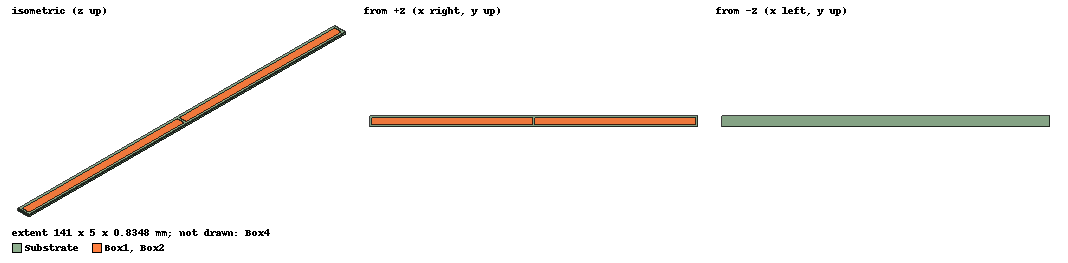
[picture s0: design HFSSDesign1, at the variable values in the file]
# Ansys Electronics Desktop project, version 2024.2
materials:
  vacuum: permittivity=1
  copper: permeability=0.999991 conductivity=58000000
  FR4_epoxy: permittivity=4.4 dielectric_loss_tangent=0.02
  air: permittivity=1.0006 permeability=1.0000004
  pec: conductivity=1e+30

design HFSSDesign1 (HFSS, HFSS Terminal Network, model units mm)
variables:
  thickness = 0.0348mm
  gap = 0.9906mm
  length = 139mm
  pcb_thickness = 0.8mm
  width = 3mm
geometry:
  Box1 [copper] = box(corner=(-gap / 2, -width/2, 0), size=(-(length - gap) / 2, width, thickness))
  Box2 [copper] = box(corner=(gap / 2, -width / 2, 0), size=((length - gap) / 2, width, thickness))
  Substrate [FR4_epoxy] = box(corner=(-70.5mm, -2.5mm, 0), size=(141mm, 5mm, -pcb_thickness))
  Box4 [air] = box(corner=(-90mm, -90mm, -82.5mm), size=(180mm, 180mm, (82.5*2) mm))
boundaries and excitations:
  Rad1: Radiation Faces=Box4.face(+z, -y, +y, -x, +x)
  reference conductors: Box2
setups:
  Setup1: HfssDriven Frequency=915MHz MaxDeltaE=0.1 MaximumPasses=10 MinimumPasses=1 MinimumConvergedPasses=1 PercentRefinement=30 BasisOrder=1 DrivenSolverType="Direct Solver" VariablesForDerivatives(gap, length, pcb_thickness, thickness, width) VariableFlagsForDerivatives(1, 1, 1, 1, 1)
    sweep Sweep: 457.5MHz to 1372.5MHz, 401 points; Type=Interpolating SaveFields InterpTolerance=0.5 InterpMaxSolns=250 PassivityErrorTolerance=0.0001
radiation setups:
  Infinite Sphere1: Infinite Sphere Theta=0deg..180deg step 2deg Phi=-180deg..180deg step 2deg
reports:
  Terminal S Parameter Plot 1: dB(St(1,1)) vs Freq on Setup1 : Sweep; markers MX1 at x=9.15e+08
  Gain Plot 1: dB(GainTotal) vs Phi, Theta on Setup1 : LastAdaptive, Infinite Sphere1 [Freq=0.915GHz]
